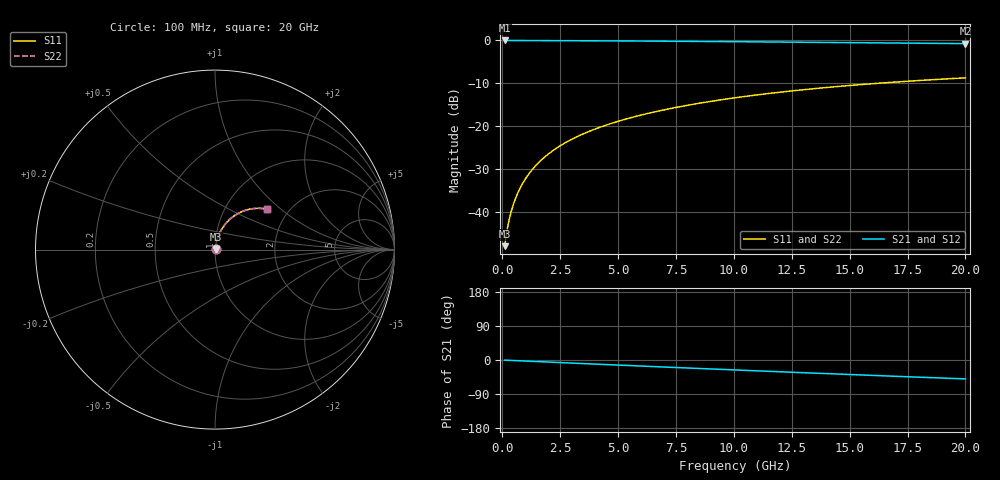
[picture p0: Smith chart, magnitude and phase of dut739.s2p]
! Touchstone file exported from HFSS 2026.1.0
!  File:  C:/ffzhzh/LocalFiles/Ansys_Project_Files/temp_train_BSMRDL_739_1783168661_43440.aedt
!  Generated:  08:39:02 PM Jul  4, 2026
!  Design:  BSMRDL
!  Project:  temp_train_BSMRDL_739_1783168661_43440
! Variables:
!  h_bsmrdl = 5.91um
!  h_ox = 20um
!  h_rdl = 5um
!  h_sub = 80um
!  h_tmrdl = 5um
!  h_tsv = 80um
!  h_via = 3um
!  l_bsmrdl = 818.55um
!  l_sub = 1218.55um
!  l_tmrdl = 200um
!  m_sub = 200um
!  pitch = 35.48um
!  r_tsv = 6um
!  s_tmrdl = 10um
!  w_bsmrdl = 16.74um
!  w_sub = 500um
!  w_tmrdl = 12um
!  x_tsv_center1 = 206um
!  x_tsv_center2 = 1041.29um
!  x_tsv_center3 = 1253.29um
!  x_tsv_center4 = 2088.58um
!  x_tsv_center5 = 2300.58um
!  x_tsv_center6 = 3135.87um
# GHz S MA R 50.000000
! Terminal data exported
! Port[1] = BSM_RDL1_1_T1
! Port[2] = BSM_RDL1_1_T2
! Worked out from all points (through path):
!   200 points, 100 MHz to 20 GHz, reference 50 ohm
!   highest |S21| = -0.03 dB at 100 MHz (marker M1); lowest = -0.8 dB at 20 GHz (marker M2)
!   group delay of S21, straight-line fit = 6.92 ps
!   lowest |S11| = -47.9 dB at 100 MHz (marker M3), VSWR 1.01, Z = 50.3 + j0.265 ohm
!   |S11| at or under -10 dB: start of sweep to 16.19 GHz
!   |S22| runs from -47.9 to -8.7 dB; largest |S21 - S12| = 2.6e-14
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0.1  0.004043 40.6  0.9969 -0.3  0.9969 -0.3  0.004043 40.6
! Gamma 0 0 0 0
! Port Impedance 50 0 50 0
0.2  0.006099 57.4  0.9968 -0.6  0.9968 -0.6  0.006099 57.4
0.3  0.00832 65.1  0.9966 -0.8  0.9966 -0.8  0.00832 65.1
0.4  0.01058 69.5  0.9964 -1.1  0.9964 -1.1  0.01058 69.5
0.5  0.01287 72.3  0.9963 -1.4  0.9963 -1.4  0.01287 72.3
0.6  0.01518 74.2  0.9962 -1.7  0.9962 -1.7  0.01518 74.2
0.8  0.01984 76.6  0.996 -2.2  0.996 -2.2  0.01984 76.6
1.1  0.02689 78.3  0.9956 -3.0  0.9956 -3.0  0.02689 78.3
1.5  0.03628 78.9  0.995 -4.1  0.995 -4.1  0.03628 78.9
1.8  0.04328 78.8  0.9944 -4.9  0.9944 -4.9  0.04328 78.8
2.1  0.05024 78.5  0.9937 -5.7  0.9937 -5.7  0.05024 78.5
2.7  0.06397 77.5  0.9922 -7.4  0.9922 -7.4  0.06398 77.5
3.5  0.08191 75.8  0.99 -9.5  0.99 -9.5  0.08191 75.8
4.2  0.09725 74.3  0.9878 -11.3  0.9878 -11.3  0.09725 74.2
5  0.1144 72.4  0.9851 -13.4  0.9851 -13.4  0.1144 72.4
5.9  0.1333 70.3  0.9819 -15.8  0.9819 -15.8  0.1333 70.3
6.8  0.1518 68.2  0.9786 -18.1  0.9786 -18.1  0.1518 68.2
8.3  0.1816 64.7  0.9725 -21.9  0.9725 -21.9  0.1816 64.7
10.1  0.2158 60.5  0.9646 -26.4  0.9646 -26.4  0.2158 60.4
13.4  0.2733 52.8  0.9488 -34.5  0.9488 -34.5  0.2733 52.7
16.7  0.3236 45.3  0.9322 -42.4  0.9322 -42.4  0.3236 45.2
20  0.3663 38.0  0.9159 -49.9  0.9159 -49.9  0.3663 37.8
